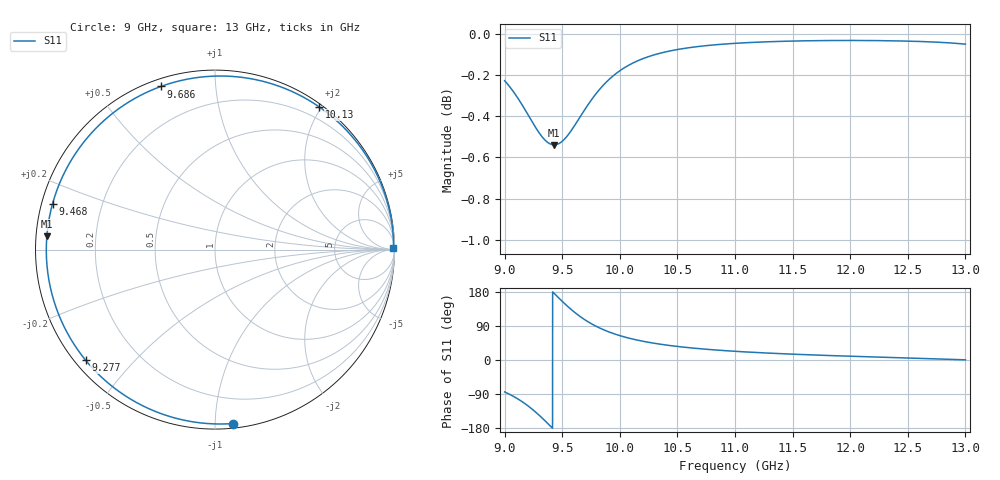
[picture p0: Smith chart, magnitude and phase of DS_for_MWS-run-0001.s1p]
! TOUCHSTONE file generated by CST DESIGN STUDIO
! Date and time: Tue Feb  4 15:59:35 2025
! Project name: C:\Work\MatlabApps\UnitCellOptimizationMatlab\CST\unitcell.cst
! Tree item: Tasks\Sweep1\SPara1\S-Parameters
! Header version: 2024
! Port assignment regex: !\s*Touchstone port\s*([0-9]+)\s*=\s*(CST MWS port|CST DES external port|CST DES block port)\s*(.+)\s* \(\"(.*)\"\)(\s*mode\s*([0-9]+))?.*
! Touchstone port assignment:
! Touchstone port 1 = CST DES external port 1 ("")
# GHz S MA R 50
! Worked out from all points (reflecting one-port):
!   4001 points, 9 GHz to 13 GHz, reference 50 ohm
!   lowest |S11| = -0.5 dB at 9.431 GHz (marker M1), VSWR 32.26, Z = 1.55 + j1.98 ohm
!   phase of S11 starts at -84 deg and turns -275 deg over the sweep
!   S11 on the Smith chart (normalised r, x): 9 GHz: 0.03, -1.11; 9.277 GHz: 0.03, -0.37; 9.468 GHz: 0.03, +0.14; 9.686 GHz: 0.03, +0.72; 10.13 GHz: 0.04, +1.97; 13 GHz: open
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9  0.9742 -84.2
9.083  0.9677 -97.0
9.153  0.9611 -110.2
9.216  0.9545 -124.1
9.277  0.9483 -139.5
9.32  0.9445 -151.4
9.359  0.9419 -162.8
9.395  0.9404 -173.6
9.431  0.9399 175.4
9.468  0.9404 164.3
9.5  0.9417 154.8
9.547  0.9448 141.5
9.592  0.9486 129.7
9.638  0.953 118.7
9.686  0.9577 108.3
9.756  0.9641 95.2
9.84  0.9706 82.4
9.917  0.9755 72.8
10  0.9797 64.3
10.132  0.9845 53.8
10.298  0.9884 44.2
10.5  0.9914 35.7
10.723  0.9934 29.0
11  0.9948 23.0
11.5  0.9961 15.4
12  0.9964 10.0
12.5  0.9961 5.3
13  0.9944 0.4
